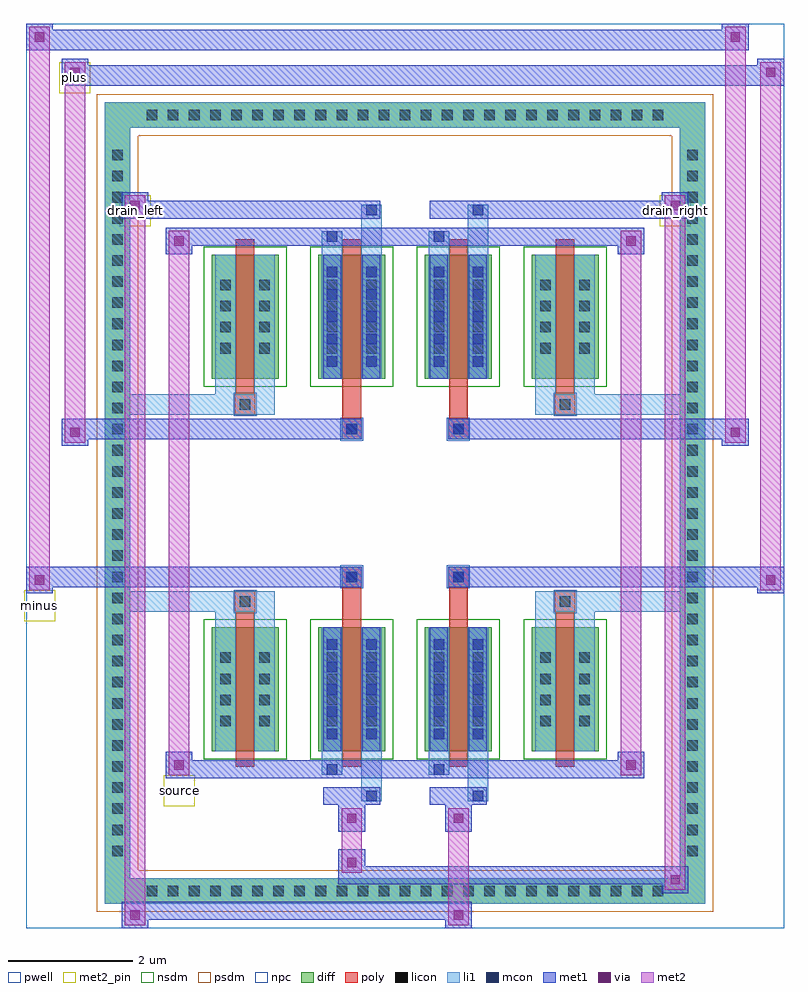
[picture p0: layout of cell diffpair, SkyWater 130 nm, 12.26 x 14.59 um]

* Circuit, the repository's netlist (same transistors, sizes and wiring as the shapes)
* NGSPICE file created from diffpair.ext - technology: sky130A

.subckt diffpair minus drain_right drain_left source plus
X0 drain_right minus source a_n968_n1292# sky130_fd_pr__nfet_01v8 ad=0.78 pd=4.78 as=0.78 ps=4.78 w=2 l=0.3
X1 drain_left plus source a_n968_n1292# sky130_fd_pr__nfet_01v8 ad=0.78 pd=4.78 as=0.78 ps=4.78 w=2 l=0.3
X2 a_n968_n1292# a_n968_n1292# a_n968_n1292# a_n968_n1292# sky130_fd_pr__nfet_01v8 ad=0.78 pd=4.78 as=6.24 ps=38.24 w=2 l=0.3
X3 a_n968_n1292# a_n968_n1292# a_n968_n1292# a_n968_n1292# sky130_fd_pr__nfet_01v8 ad=0.78 pd=4.78 as=0 ps=0 w=2 l=0.3
X4 drain_right minus source a_n968_n1292# sky130_fd_pr__nfet_01v8 ad=0.78 pd=4.78 as=0.78 ps=4.78 w=2 l=0.3
X5 a_n968_n1292# a_n968_n1292# a_n968_n1292# a_n968_n1292# sky130_fd_pr__nfet_01v8 ad=0.78 pd=4.78 as=0 ps=0 w=2 l=0.3
X6 drain_left plus source a_n968_n1292# sky130_fd_pr__nfet_01v8 ad=0.78 pd=4.78 as=0.78 ps=4.78 w=2 l=0.3
X7 a_n968_n1292# a_n968_n1292# a_n968_n1292# a_n968_n1292# sky130_fd_pr__nfet_01v8 ad=0.78 pd=4.78 as=0 ps=0 w=2 l=0.3
.ends

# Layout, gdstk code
import gdstk
lib = gdstk.Library(unit=1e-6, precision=5e-09)
def R(c, l, rs):  # rectangles x0, y0, x1, y1
    for r in rs: c.add(gdstk.rectangle(r[:2], r[2:], *l))
def A(c, l, x, y, w, h, nx, ny, dx, dy):  # array of equal rectangles
    R(c, l, [(x+i*dx, y+j*dy, x+i*dx+w, y+j*dy+h) for i in range(nx) for j in range(ny)])
def P(c, l, *ps):  # polygons
    for p in ps: c.add(gdstk.Polygon(p, *l))
pwell = (64, 44)
diff = (65, 20)
poly = (66, 20)
licon = (66, 44)
li1 = (67, 20)
mcon = (67, 44)
met1 = (68, 20)
via = (68, 44)
met2_pin = (69, 16)
met2 = (69, 20)
nsdm = (93, 44)
psdm = (94, 20)
npc = (95, 20)

diffpair = lib.new_cell('diffpair')
R(diffpair, pwell, [(-6.11,-6.86,6.11,7.73), (-3.43,-5.05,-0.01,-0.825), (0.01,-5.05,3.43,-0.825), (-3.43,0.825,-0.01,5.05), (0.01,0.825,3.43,5.05)])
A(diffpair, diff, -4.285, -6.46, 0.41, 0.41, 25, 2, 0.34, 12.51)
A(diffpair, diff, -4.84, -5.815, 0.41, 0.41, 1, 34, 0, 0.34)
A(diffpair, diff, 4.43, -5.815, 0.41, 0.41, 1, 34, 0, 0.34)
A(diffpair, diff, -3.12, -4.005, 1.08, 2, 4, 2, 1.72, 6.01)
R(diffpair, diff, [(-4.285,-6.46,4.285,-6.05), (-4.84,-5.815,-4.43,5.815), (4.43,-5.815,4.84,5.815), (-4.285,6.05,4.285,6.46)])
P(diffpair, diff, [(4.84,6.46),(-4.84,6.46),(-4.84,-6.05),(-4.43,-6.05),(-4.43,6.05),(4.43,6.05),(4.43,-6.05),(-4.43,-6.05),(-4.84,-6.05),(-4.84,-6.46),(4.84,-6.46)])
A(diffpair, poly, -2.73, -4.255, 0.3, 2.5, 4, 2, 1.72, 6.01)
R(diffpair, poly, [(-2.745,-1.755,-2.415,-1.425), (-2.745,-1.755,-2.415,-1.425), (-1.01,-1.755,-0.71,-1.355), (0.71,-1.755,1.01,-1.355), (2.415,-1.755,2.745,-1.425), (2.415,-1.755,2.745,-1.425), (-1.025,-1.355,-0.695,-1.025), (-1.025,-1.355,-0.695,-1.025), (0.695,-1.355,1.025,-1.025), (0.695,-1.355,1.025,-1.025), (-1.025,1.025,-0.695,1.355), (-1.025,1.025,-0.695,1.355), (0.695,1.025,1.025,1.355), (0.695,1.025,1.025,1.355), (-1.01,1.355,-0.71,1.755), (0.71,1.355,1.01,1.755), (-2.745,1.425,-2.415,1.755), (-2.745,1.425,-2.415,1.755), (2.415,1.425,2.745,1.755), (2.415,1.425,2.745,1.755)])
A(diffpair, licon, -4.165, -6.34, 0.17, 0.17, 25, 2, 0.34, 12.51)
A(diffpair, licon, -4.72, -5.695, 0.17, 0.17, 1, 34, 0, 0.34)
A(diffpair, licon, 4.55, -5.695, 0.17, 0.17, 1, 34, 0, 0.34)
A(diffpair, licon, -2.98, -3.6, 0.17, 0.17, 1, 4, 0, 0.34)
A(diffpair, licon, -2.35, -3.6, 0.17, 0.17, 1, 4, 0, 0.34)
A(diffpair, licon, -1.26, -3.6, 0.17, 0.17, 1, 4, 0, 0.34)
A(diffpair, licon, -0.63, -3.6, 0.17, 0.17, 1, 4, 0, 0.34)
A(diffpair, licon, 0.46, -3.6, 0.17, 0.17, 1, 4, 0, 0.34)
A(diffpair, licon, 1.09, -3.6, 0.17, 0.17, 1, 4, 0, 0.34)
A(diffpair, licon, 2.18, -3.6, 0.17, 0.17, 1, 4, 0, 0.34)
A(diffpair, licon, 2.81, -3.6, 0.17, 0.17, 1, 4, 0, 0.34)
A(diffpair, licon, -2.98, 2.41, 0.17, 0.17, 1, 4, 0, 0.34)
A(diffpair, licon, -2.35, 2.41, 0.17, 0.17, 1, 4, 0, 0.34)
A(diffpair, licon, -1.26, 2.41, 0.17, 0.17, 1, 4, 0, 0.34)
A(diffpair, licon, -0.63, 2.41, 0.17, 0.17, 1, 4, 0, 0.34)
A(diffpair, licon, 0.46, 2.41, 0.17, 0.17, 1, 4, 0, 0.34)
A(diffpair, licon, 1.09, 2.41, 0.17, 0.17, 1, 4, 0, 0.34)
A(diffpair, licon, 2.18, 2.41, 0.17, 0.17, 1, 4, 0, 0.34)
A(diffpair, licon, 2.81, 2.41, 0.17, 0.17, 1, 4, 0, 0.34)
R(diffpair, licon, [(-2.665,-1.675,-2.495,-1.505), (2.495,-1.675,2.665,-1.505), (-0.945,-1.275,-0.775,-1.105), (0.775,-1.275,0.945,-1.105), (-0.945,1.105,-0.775,1.275), (0.775,1.105,0.945,1.275), (-2.665,1.505,-2.495,1.675), (2.495,1.505,2.665,1.675)])
A(diffpair, li1, -4.245, -6.42, 0.33, 0.33, 25, 2, 0.34, 12.51)
A(diffpair, li1, -4.8, -5.775, 0.33, 0.33, 1, 34, 0, 0.34)
A(diffpair, li1, 4.47, -5.775, 0.33, 0.33, 1, 34, 0, 0.34)
A(diffpair, li1, -1.26, -3.81, 0.17, 0.17, 1, 5, 0, 0.36)
A(diffpair, li1, -0.63, -3.81, 0.17, 0.17, 1, 5, 0, 0.36)
A(diffpair, li1, 0.46, -3.81, 0.17, 0.17, 1, 5, 0, 0.36)
A(diffpair, li1, 1.09, -3.81, 0.17, 0.17, 1, 5, 0, 0.36)
A(diffpair, li1, -3.06, -3.68, 0.33, 0.33, 1, 4, 0, 0.34)
A(diffpair, li1, -2.43, -3.68, 0.33, 0.33, 1, 4, 0, 0.34)
A(diffpair, li1, -1.34, -3.68, 0.33, 0.33, 1, 4, 0, 0.34)
A(diffpair, li1, -0.71, -3.68, 0.33, 0.33, 1, 4, 0, 0.34)
A(diffpair, li1, 0.38, -3.68, 0.33, 0.33, 1, 4, 0, 0.34)
A(diffpair, li1, 1.01, -3.68, 0.33, 0.33, 1, 4, 0, 0.34)
A(diffpair, li1, 2.1, -3.68, 0.33, 0.33, 1, 4, 0, 0.34)
A(diffpair, li1, 2.73, -3.68, 0.33, 0.33, 1, 4, 0, 0.34)
A(diffpair, li1, -1.26, 2.2, 0.17, 0.17, 1, 5, 0, 0.36)
A(diffpair, li1, -0.63, 2.2, 0.17, 0.17, 1, 5, 0, 0.36)
A(diffpair, li1, 0.46, 2.2, 0.17, 0.17, 1, 5, 0, 0.36)
A(diffpair, li1, 1.09, 2.2, 0.17, 0.17, 1, 5, 0, 0.36)
A(diffpair, li1, -3.06, 2.33, 0.33, 0.33, 1, 4, 0, 0.34)
A(diffpair, li1, -2.43, 2.33, 0.33, 0.33, 1, 4, 0, 0.34)
A(diffpair, li1, -1.34, 2.33, 0.33, 0.33, 1, 4, 0, 0.34)
A(diffpair, li1, -0.71, 2.33, 0.33, 0.33, 1, 4, 0, 0.34)
A(diffpair, li1, 0.38, 2.33, 0.33, 0.33, 1, 4, 0, 0.34)
A(diffpair, li1, 1.01, 2.33, 0.33, 0.33, 1, 4, 0, 0.34)
A(diffpair, li1, 2.1, 2.33, 0.33, 0.33, 1, 4, 0, 0.34)
A(diffpair, li1, 2.73, 2.33, 0.33, 0.33, 1, 4, 0, 0.34)
R(diffpair, li1, [(-4.84,-6.46,-4.43,-6.05), (-4.84,-6.46,-4.43,-6.05), (-4.43,-6.46,4.43,-6.05), (4.43,-6.46,4.84,-6.05), (4.43,-6.46,4.84,-6.05), (-4.84,-6.05,-4.43,6.05), (4.43,-6.05,4.84,6.05), (-0.71,-4.81,-0.38,-4.005), (-0.63,-4.81,-0.46,-4.64), (1.01,-4.81,1.34,-4.005), (1.09,-4.81,1.26,-4.64), (-1.34,-4.38,-1.01,-4.005), (-1.26,-4.38,-1.09,-4.21), (0.38,-4.38,0.71,-4.005), (0.46,-4.38,0.63,-4.21), (-3.06,-4.005,-2.73,-2.005), (-2.43,-4.005,-2.1,-2.005), (-1.34,-4.005,-1.01,-2.005), (-0.71,-4.005,-0.38,-2.005), (0.38,-4.005,0.71,-2.005), (1.01,-4.005,1.34,-2.005), (2.1,-4.005,2.43,-2.005), (2.73,-4.005,3.06,-2.005), (-1.26,-3.81,-1.09,-2.2), (-0.63,-3.81,-0.46,-2.2), (0.46,-3.81,0.63,-2.2), (1.09,-3.81,1.26,-2.2), (-3.06,-2.005,-2.73,-1.425), (-2.43,-2.005,-2.1,-1.425), (2.1,-2.005,2.43,-1.425), (2.73,-2.005,3.06,-1.425), (-4.84,-1.755,-2.745,-1.425), (-3.06,-1.755,-2.745,-1.425), (-2.745,-1.755,-2.415,-1.425), (-2.415,-1.755,-2.1,-1.425), (2.1,-1.755,2.415,-1.425), (2.415,-1.755,2.745,-1.425), (2.415,-1.755,4.84,-1.425), (2.745,-1.755,3.06,-1.425), (-1.025,-1.355,-0.695,-1.025), (0.695,-1.355,1.025,-1.025), (-1.025,1.025,-0.695,1.355), (0.695,1.025,1.025,1.355), (-4.84,1.425,-2.745,1.755), (-3.06,1.425,-2.745,1.755), (-3.06,1.425,-2.73,2.005), (-2.745,1.425,-2.415,1.755), (-2.43,1.425,-2.1,2.005), (-2.415,1.425,-2.1,1.755), (2.1,1.425,2.415,1.755), (2.1,1.425,2.43,2.005), (2.415,1.425,2.745,1.755), (2.415,1.425,4.84,1.755), (2.73,1.425,3.06,2.005), (2.745,1.425,3.06,1.755), (-3.06,2.005,-2.73,4.005), (-2.43,2.005,-2.1,4.005), (-1.34,2.005,-1.01,4.005), (-0.71,2.005,-0.38,4.005), (0.38,2.005,0.71,4.005), (1.01,2.005,1.34,4.005), (2.1,2.005,2.43,4.005), (2.73,2.005,3.06,4.005), (-1.26,2.2,-1.09,3.81), (-0.63,2.2,-0.46,3.81), (0.46,2.2,0.63,3.81), (1.09,2.2,1.26,3.81), (-1.34,4.005,-1.01,4.38), (-0.71,4.005,-0.38,4.81), (0.38,4.005,0.71,4.38), (1.01,4.005,1.34,4.81), (-1.26,4.21,-1.09,4.38), (0.46,4.21,0.63,4.38), (-0.63,4.64,-0.46,4.81), (1.09,4.64,1.26,4.81), (-4.84,6.05,-4.43,6.46), (-4.84,6.05,-4.43,6.46), (-4.43,6.05,4.43,6.46), (4.43,6.05,4.84,6.46), (4.43,6.05,4.84,6.46)])
A(diffpair, mcon, -1.26, -3.81, 0.17, 0.17, 1, 5, 0, 0.36)
A(diffpair, mcon, -0.63, -3.81, 0.17, 0.17, 1, 5, 0, 0.36)
A(diffpair, mcon, 0.46, -3.81, 0.17, 0.17, 1, 5, 0, 0.36)
A(diffpair, mcon, 1.09, -3.81, 0.17, 0.17, 1, 5, 0, 0.36)
A(diffpair, mcon, -1.26, 2.2, 0.17, 0.17, 1, 5, 0, 0.36)
A(diffpair, mcon, -0.63, 2.2, 0.17, 0.17, 1, 5, 0, 0.36)
A(diffpair, mcon, 0.46, 2.2, 0.17, 0.17, 1, 5, 0, 0.36)
A(diffpair, mcon, 1.09, 2.2, 0.17, 0.17, 1, 5, 0, 0.36)
R(diffpair, mcon, [(-0.63,-4.81,-0.46,-4.64), (1.09,-4.81,1.26,-4.64), (-1.26,-4.38,-1.09,-4.21), (0.46,-4.38,0.63,-4.21), (-0.945,-1.275,-0.775,-1.105), (0.775,-1.275,0.945,-1.105), (-0.945,1.105,-0.775,1.275), (0.775,1.105,0.945,1.275), (-1.26,4.21,-1.09,4.38), (0.46,4.21,0.63,4.38), (-0.63,4.64,-0.46,4.81), (1.09,4.64,1.26,4.81)])
A(diffpair, met1, -1.32, -3.87, 0.29, 0.29, 1, 5, 0, 0.36)
A(diffpair, met1, -0.69, -3.87, 0.29, 0.29, 1, 5, 0, 0.36)
A(diffpair, met1, 0.4, -3.87, 0.29, 0.29, 1, 5, 0, 0.36)
A(diffpair, met1, 1.03, -3.87, 0.29, 0.29, 1, 5, 0, 0.36)
A(diffpair, met1, -1.32, 2.14, 0.29, 0.29, 1, 5, 0, 0.36)
A(diffpair, met1, -0.69, 2.14, 0.29, 0.29, 1, 5, 0, 0.36)
A(diffpair, met1, 0.4, 2.14, 0.29, 0.29, 1, 5, 0, 0.36)
A(diffpair, met1, 1.03, 2.14, 0.29, 0.29, 1, 5, 0, 0.36)
R(diffpair, met1, [(-4.57,-6.86,-4.14,-6.43), (0.645,-6.86,1.075,-6.43), (-4.57,-6.72,1.075,-6.43), (4.14,-6.29,4.57,-5.86), (-1.075,-6.15,4.57,-5.86), (-1.075,-6.01,-0.645,-5.58), (-1.075,-5.3,-0.645,-4.87), (0.645,-5.3,1.075,-4.87), (-1.32,-4.87,-0.4,-4.58), (-0.69,-4.87,-0.4,-4.58), (0.4,-4.87,1.32,-4.58), (1.03,-4.87,1.32,-4.58), (-3.86,-4.44,-3.43,-4.01), (-3.86,-4.44,-1.32,-4.15), (-1.32,-4.44,-1.03,-4.15), (-1.32,-4.44,-0.4,-4.15), (-0.4,-4.44,0.4,-4.15), (0.4,-4.44,0.69,-4.15), (0.4,-4.44,1.32,-4.15), (1.32,-4.44,3.86,-4.15), (3.43,-4.44,3.86,-4.01), (-1.32,-4.005,-1.03,-2.005), (-0.69,-4.005,-0.4,-2.005), (0.4,-4.005,0.69,-2.005), (1.03,-4.005,1.32,-2.005), (-6.11,-1.455,-5.68,-1.025), (5.68,-1.455,6.11,-1.025), (-6.11,-1.355,-0.695,-1.025), (-1.025,-1.355,-0.695,-1.025), (0.695,-1.355,1.025,-1.025), (0.695,-1.355,6.11,-1.025), (-1.005,-1.335,-0.715,-1.045), (0.715,-1.335,1.005,-1.045), (-5.54,0.925,-5.11,1.355), (5.11,0.925,5.54,1.355), (-5.54,1.025,-1.025,1.355), (-1.025,1.025,-0.695,1.355), (0.695,1.025,1.025,1.355), (1.025,1.025,5.54,1.355), (-1.005,1.045,-0.715,1.335), (0.715,1.045,1.005,1.335), (-1.32,2.005,-1.03,4.005), (-0.69,2.005,-0.4,4.005), (0.4,2.005,0.69,4.005), (1.03,2.005,1.32,4.005), (-3.86,4.01,-3.43,4.44), (3.43,4.01,3.86,4.44), (-3.86,4.15,-1.32,4.44), (-1.32,4.15,-1.03,4.44), (-1.32,4.15,-0.4,4.44), (-0.4,4.15,0.4,4.44), (0.4,4.15,0.69,4.44), (0.4,4.15,1.32,4.44), (1.32,4.15,3.86,4.44), (-4.57,4.58,-4.14,5.01), (-4.57,4.58,-1.32,4.87), (-1.32,4.58,-0.4,4.87), (-0.69,4.58,-0.4,4.87), (0.4,4.58,1.32,4.87), (1.03,4.58,1.32,4.87), (1.32,4.58,4.57,4.87), (4.14,4.58,4.57,5.01), (-5.54,6.73,-5.11,7.16), (-5.54,6.73,-3.43,7.06), (-3.43,6.73,3.43,7.06), (3.43,6.73,6.11,7.06), (5.68,6.73,6.11,7.16), (-6.11,7.3,-5.68,7.73), (-6.11,7.3,-3.43,7.63), (-3.43,7.3,3.43,7.63), (3.43,7.3,5.54,7.63), (5.11,7.3,5.54,7.73)])
R(diffpair, via, [(-4.43,-6.72,-4.28,-6.57), (0.785,-6.72,0.935,-6.57), (4.28,-6.15,4.43,-6), (-0.935,-5.87,-0.785,-5.72), (-0.935,-5.16,-0.785,-5.01), (0.785,-5.16,0.935,-5.01), (-3.72,-4.3,-3.57,-4.15), (3.57,-4.3,3.72,-4.15), (-5.97,-1.315,-5.82,-1.165), (5.82,-1.315,5.97,-1.165), (-5.4,1.065,-5.25,1.215), (5.25,1.065,5.4,1.215), (-3.72,4.15,-3.57,4.3), (3.57,4.15,3.72,4.3), (-4.43,4.72,-4.28,4.87), (4.28,4.72,4.43,4.87), (-5.4,6.87,-5.25,7.02), (5.82,6.87,5.97,7.02), (-5.97,7.44,-5.82,7.59), (5.25,7.44,5.4,7.59)])
R(diffpair, met2_pin, [(-3.895,-4.89,-3.395,-4.39), (-6.145,-1.905,-5.645,-1.405), (-4.605,4.46,-4.105,4.96), (4.105,4.46,4.605,4.96), (-5.575,6.61,-5.075,7.11)])
R(diffpair, met2, [(-4.52,-6.81,-4.19,-6.48), (-4.52,-6.81,-4.19,4.96), (0.695,-6.81,1.025,-6.48), (0.695,-6.48,1.025,-5.25), (4.19,-6.24,4.52,-5.91), (4.19,-6.24,4.52,4.96), (-1.025,-5.96,-0.695,-5.63), (-1.025,-5.63,-0.695,-5.25), (-1.025,-5.25,-0.695,-4.92), (0.695,-5.25,1.025,-4.92), (-3.81,-4.39,-3.48,-4.06), (-3.81,-4.39,-3.48,4.39), (3.48,-4.39,3.81,-4.06), (3.48,-4.39,3.81,4.39), (-6.06,-1.405,-5.73,-1.075), (-6.06,-1.405,-5.73,7.68), (5.73,-1.405,6.06,-1.075), (5.73,-1.405,6.06,7.11), (-5.49,0.975,-5.16,1.305), (-5.49,0.975,-5.16,7.11), (5.16,0.975,5.49,1.305), (5.16,0.975,5.49,7.68), (-3.81,4.06,-3.48,4.39), (3.48,4.06,3.81,4.39), (-4.52,4.63,-4.19,4.96), (4.19,4.63,4.52,4.96), (-5.49,6.78,-5.16,7.11), (5.73,6.78,6.06,7.11), (-6.06,7.35,-5.73,7.68), (5.16,7.35,5.49,7.68)])
P(diffpair, met2, [(6.06,-1.405),(6.06,-1.405),(6.06,-1.075),(6.06,-1.075)],
  [(6.06,6.78),(6.06,6.78),(6.06,7.11),(6.06,7.11)],
  [(-5.73,-1.405),(-5.73,-1.405),(-5.73,-1.075),(-5.73,-1.075)],
  [(-5.73,7.35),(-5.73,7.35),(-5.73,7.68),(-5.73,7.68)],
  [(5.49,0.975),(5.49,0.975),(5.49,1.305),(5.49,1.305)],
  [(5.49,7.35),(5.49,7.35),(5.49,7.68),(5.49,7.68)],
  [(-5.16,0.975),(-5.16,0.975),(-5.16,1.305),(-5.16,1.305)],
  [(-5.16,6.78),(-5.16,6.78),(-5.16,7.11),(-5.16,7.11)],
  [(-4.19,-6.81),(-4.19,-6.81),(-4.19,-6.48),(-4.19,-6.48)],
  [(-4.19,4.63),(-4.19,4.63),(-4.19,4.96),(-4.19,4.96)],
  [(4.52,-6.24),(4.52,-6.24),(4.52,-5.91),(4.52,-5.91)],
  [(4.52,4.63),(4.52,4.63),(4.52,4.96),(4.52,4.96)],
  [(-3.48,-4.39),(-3.48,-4.39),(-3.48,-4.06),(-3.48,-4.06)],
  [(-3.48,4.06),(-3.48,4.06),(-3.48,4.39),(-3.48,4.39)],
  [(3.81,-4.39),(3.81,-4.39),(3.81,-4.06),(3.81,-4.06)],
  [(3.81,4.06),(3.81,4.06),(3.81,4.39),(3.81,4.39)])
A(diffpair, nsdm, -3.25, -4.135, 1.34, 2.26, 4, 2, 1.72, 6.01)
P(diffpair, psdm, [(4.97,6.59),(-4.97,6.59),(-4.97,-5.92),(-4.3,-5.92),(-4.3,5.92),(4.3,5.92),(4.3,-5.92),(-4.3,-5.92),(-4.97,-5.92),(-4.97,-6.59),(4.97,-6.59)])
R(diffpair, npc, [(-2.765,-1.775,-2.395,-1.405), (2.395,-1.775,2.765,-1.405), (-1.045,-1.375,-0.675,-1.005), (0.675,-1.375,1.045,-1.005), (-1.045,1.005,-0.675,1.375), (0.675,1.005,1.045,1.375), (-2.765,1.405,-2.395,1.775), (2.395,1.405,2.765,1.775)])
diffpair.add(gdstk.Label('minus', (-5.895,-1.655), layer=69, texttype=5))
diffpair.add(gdstk.Label('drain_right', (4.355,4.71), layer=69, texttype=5))
diffpair.add(gdstk.Label('drain_left', (-4.355,4.71), layer=69, texttype=5))
diffpair.add(gdstk.Label('source', (-3.645,-4.64), layer=69, texttype=5))
diffpair.add(gdstk.Label('plus', (-5.325,6.86), layer=69, texttype=5))

lib.write_gds('diffpair.gds')
